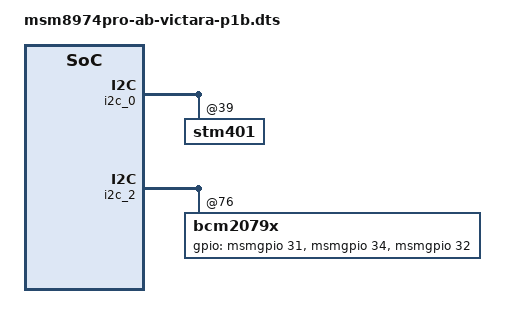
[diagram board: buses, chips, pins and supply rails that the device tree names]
/* Copyright (c) 2014 Motorola Mobility LLC
 *
 * This program is free software; you can redistribute it and/or modify
 * it under the terms of the GNU General Public License version 2 and
 * only version 2 as published by the Free Software Foundation.
 *
 * This program is distributed in the hope that it will be useful,
 * but WITHOUT ANY WARRANTY; without even the implied warranty of
 * MERCHANTABILITY or FITNESS FOR A PARTICULAR PURPOSE.  See the
 * GNU General Public License for more details.
 */

/dts-v1/;
/include/ "msm8974pro-ab-moto-common.dtsi"
/include/ "msm8974pro-victara-common.dtsi"


/ {
	qcom,msm-id = <217 0x4D 0x81B0>;
};

&sdhc_1 {
	qcom,bus-speed-mode = "HS200_1p8v", "DDR_1p8v";
};

&usb3 {
        interrupt-map = <0x0 0 &intc 0 133 0>;
        interrupt-names = "hs_phy_irq";
        dwc_usb3-adc_tm = <0>;
};

&i2c_0 {
	stm401@39 {
		stm401_fw_version = "_p0";
	};
};

&i2c_2 {
	bcm2079x@76 {
		gpios = <&msmgpio 31 0x0>, /* NFC_WAKE */
			<&msmgpio 34 0x0>, /* NFC_IRQ */
			<&msmgpio 32 0x0>; /* REG_PU */
	};
};
